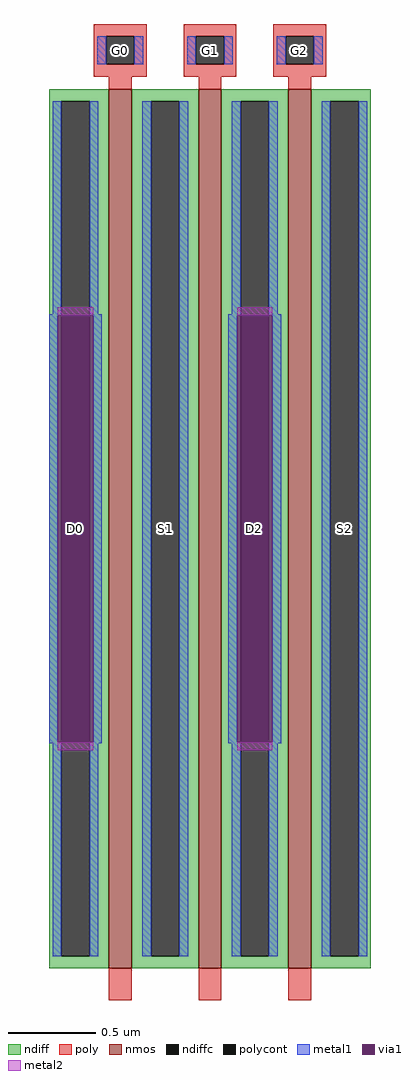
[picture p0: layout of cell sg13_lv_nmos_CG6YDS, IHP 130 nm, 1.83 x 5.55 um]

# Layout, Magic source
magic
tech ihp-sg13g2
magscale 1 2
<< nmos >>
rect -115 -519 -89 481
rect -13 -519 13 481
rect 89 -519 115 481
<< ndiff >>
rect -183 467 -115 481
rect -183 -505 -169 467
rect -137 -505 -115 467
rect -183 -519 -115 -505
rect -89 467 -13 481
rect -89 -505 -67 467
rect -35 -505 -13 467
rect -89 -519 -13 -505
rect 13 467 89 481
rect 13 -505 35 467
rect 67 -505 89 467
rect 13 -519 89 -505
rect 115 467 183 481
rect 115 -505 137 467
rect 169 -505 183 467
rect 115 -519 183 -505
<< ndiffc >>
rect -169 -505 -137 467
rect -67 -505 -35 467
rect 35 -505 67 467
rect 137 -505 169 467
<< poly >>
rect -132 541 -72 555
rect -132 509 -118 541
rect -86 509 -72 541
rect -132 495 -72 509
rect -30 541 30 555
rect -30 509 -16 541
rect 16 509 30 541
rect -30 495 30 509
rect 72 541 132 555
rect 72 509 86 541
rect 118 509 132 541
rect 72 495 132 509
rect -115 481 -89 495
rect -13 481 13 495
rect 89 481 115 495
rect -115 -555 -89 -519
rect -13 -555 13 -519
rect 89 -555 115 -519
<< polycont >>
rect -118 509 -86 541
rect -16 509 16 541
rect 86 509 118 541
<< metal1 >>
rect -128 509 -118 541
rect -86 509 -76 541
rect -26 509 -16 541
rect 16 509 26 541
rect 76 509 86 541
rect 118 509 128 541
rect -179 225 -169 467
rect -183 224 -169 225
rect -137 225 -127 467
rect -137 224 -123 225
rect -183 -262 -173 224
rect -133 -262 -123 224
rect -183 -263 -169 -262
rect -179 -505 -169 -263
rect -137 -263 -123 -262
rect -137 -505 -127 -263
rect -77 -505 -67 467
rect -35 -505 -25 467
rect 25 225 35 467
rect 21 224 35 225
rect 67 225 77 467
rect 67 224 81 225
rect 21 -262 31 224
rect 71 -262 81 224
rect 21 -263 35 -262
rect 25 -505 35 -263
rect 67 -263 81 -262
rect 67 -505 77 -263
rect 127 -505 137 467
rect 169 -505 179 467
<< via1 >>
rect -173 -262 -169 224
rect -169 -262 -137 224
rect -137 -262 -133 224
rect 31 -262 35 224
rect 35 -262 67 224
rect 67 -262 71 224
<< metal2 >>
rect -173 224 -133 233
rect -173 -271 -133 -262
rect 31 224 71 233
rect 31 -271 71 -262
<< labels >>
rlabel ndiffc -153 -19 -153 -19 0 D0
port 1 nsew
rlabel polycont -102 525 -102 525 0 G0
port 2 nsew
rlabel ndiffc -51 -19 -51 -19 0 S1
port 3 nsew
rlabel polycont 0 525 0 525 0 G1
port 4 nsew
rlabel ndiffc 51 -19 51 -19 0 D2
port 5 nsew
rlabel ndiffc 153 -19 153 -19 0 S2
port 6 nsew
rlabel polycont 102 525 102 525 0 G2
port 7 nsew
<< properties >>
string gencell sg13_lv_nmos
string library sg13g2
string parameters w 5 l 0.13 m 1 nf 3 diffcov 100 polycov 100 guard 0 glc 1 grc 1 gtc 1 gbc 1 tbcov 100 rlcov 100 topc 1 botc 0 poverlap 0 doverlap 1 lmin 0.13 wmin 0.15 class mosfet compatible {sg13_lv_nmos sg13_hv_nmos} full_metal 1 conn_gates 0 gate_ring 0 doports 1 viasrc 0 viadrn 50 viagate 0 ccols 1 viagb 0 viagr 0 viagl 0 viagt 0
<< end >>
